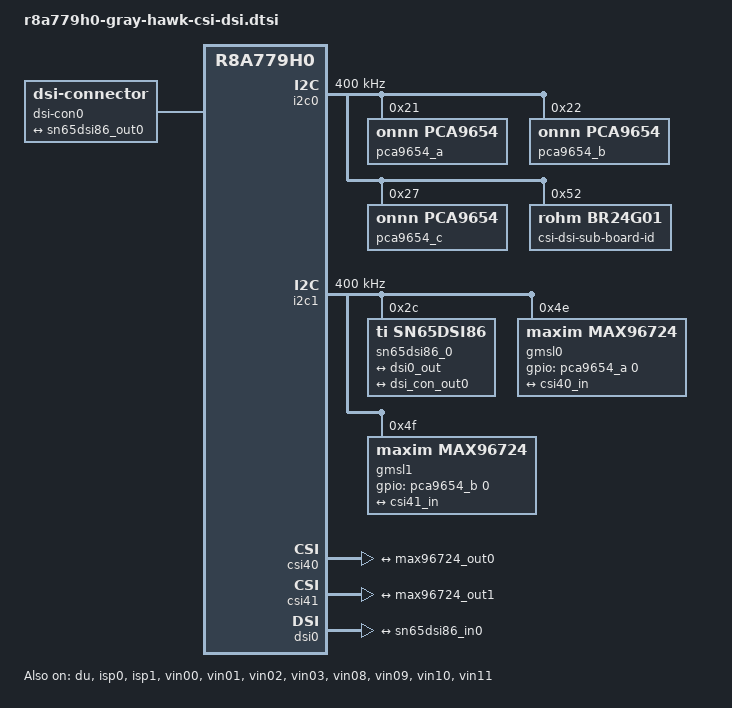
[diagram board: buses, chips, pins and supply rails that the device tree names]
// SPDX-License-Identifier: (GPL-2.0-only OR BSD-2-Clause)
/*
 * Device Tree Source for the R-Car V4M Gray Hawk CSI/DSI sub-board
 *
 * Copyright (C) 2023 Renesas Electronics Corp.
 */

#include <dt-bindings/media/video-interfaces.h>

/ {
	dsi-con0 {
		compatible = "dsi-connector";
		port {
			dsi_con_out0: endpoint {
				remote-endpoint = <&sn65dsi86_out0>;
			};
		};
	};
};

&i2c0 {
	pinctrl-0 = <&i2c0_pins>;
	pinctrl-names = "default";

	status = "okay";
	clock-frequency = <400000>;

	pca9654_a: gpio@21 {
		compatible = "onnn,pca9654";
		reg = <0x21>;
		gpio-controller;
		#gpio-cells = <2>;
	};

	pca9654_b: gpio@22 {
		compatible = "onnn,pca9654";
		reg = <0x22>;
		gpio-controller;
		#gpio-cells = <2>;
	};

	pca9654_c: gpio@27 {
		compatible = "onnn,pca9654";
		reg = <0x27>;
		gpio-controller;
		#gpio-cells = <2>;
	};

	eeprom@52 {
		compatible = "rohm,br24g01", "atmel,24c01";
		label = "csi-dsi-sub-board-id";
		reg = <0x52>;
		pagesize = <8>;
	};
};

&i2c1 {
	pinctrl-0 = <&i2c1_pins>;
	pinctrl-names = "default";

	status = "okay";
	clock-frequency = <400000>;

	sn65dsi86_0@2c {
		compatible = "ti,sn65dsi86";
		reg = <0x2c>;
		dp-connector;
		clocks = <&ref_clk>;
		clock-names = "refclk";
		no-use-gpio;
		no-use-scramble;
		hpd-poll;
		status = "okay";

		ports {
		#address-cells = <1>;
		#size-cells = <0>;

			port@0 {
				reg = <0>;
				sn65dsi86_in0: endpoint {
					remote-endpoint = <&dsi0_out>;
				};
			};

			port@1 {
				reg = <1>;
				sn65dsi86_out0: endpoint {
					remote-endpoint = <&dsi_con_out0>;
				};
			};
		};
	};

	gmsl0: gmsl-deserializer@4e {
		compatible = "maxim,max96724";
		reg = <0x4e>, <0x01>, <0x02>, <0x03>, <0x04>;
		gpios = <&pca9654_a 0 GPIO_ACTIVE_HIGH>;
		gpio-controller;
		#gpio-cells = <2>;

		ports {
			#address-cells = <1>;
			#size-cells = <0>;

			port@0 {
				reg = <0>;
				max96724_in0: endpoint {
				};
			};

			port@1 {
				reg = <1>;
				max96724_in1: endpoint {
				};
			};

			port@2 {
				reg = <2>;
				max96724_in2: endpoint {
				};
			};

			port@3 {
				reg = <3>;
				max96724_in3: endpoint {
				};
			};

			port@4 {
				reg = <4>;
				max96724_out0: endpoint {
					bus-type = <MEDIA_BUS_TYPE_CSI2_DPHY>;
					clock-lanes = <0>;
					data-lanes = <1 2 3 4>;
					remote-endpoint = <&csi40_in>;
				};
			};
		};

		i2c-mux {
			#address-cells = <1>;
			#size-cells = <0>;

			i2c@0 {
				#address-cells = <1>;
				#size-cells = <0>;
				reg = <0>;

				status = "disabled";
			};

			i2c@1 {
				#address-cells = <1>;
				#size-cells = <0>;
				reg = <1>;

				status = "disabled";
			};

			i2c@2 {
				#address-cells = <1>;
				#size-cells = <0>;
				reg = <2>;

				status = "disabled";
			};

			i2c@3 {
				#address-cells = <1>;
				#size-cells = <0>;
				reg = <3>;

				status = "disabled";
			};
		};
	};

	gmsl1: gmsl-deserializer@4f {
		compatible = "maxim,max96724";
		reg = <0x4f>, <0x05>, <0x06>, <0x07>, <0x08>;
		gpios = <&pca9654_b 0 GPIO_ACTIVE_HIGH>;
		maxim,invert_phy-pol;
		gpio-controller;
		#gpio-cells = <2>;

		ports {
			#address-cells = <1>;
			#size-cells = <0>;

			port@0 {
				reg = <0>;
				max96724_in4: endpoint {
				};
			};

			port@1 {
				reg = <1>;
				max96724_in5: endpoint {
				};
			};

			port@2 {
				reg = <2>;
				max96724_in6: endpoint {
				};
			};

			port@3 {
				reg = <3>;
				max96724_in7: endpoint {
				};
			};

			port@4 {
				reg = <4>;
				max96724_out1: endpoint {
					bus-type = <MEDIA_BUS_TYPE_CSI2_DPHY>;
					clock-lanes = <0>;
					data-lanes = <1 2 3 4>;
					remote-endpoint = <&csi41_in>;
				};
			};
		};

		i2c-mux {
			#address-cells = <1>;
			#size-cells = <0>;

			i2c@0 {
				#address-cells = <1>;
				#size-cells = <0>;
				reg = <0>;

				status = "disabled";
			};

			i2c@1 {
				#address-cells = <1>;
				#size-cells = <0>;
				reg = <1>;

				status = "disabled";
			};

			i2c@2 {
				#address-cells = <1>;
				#size-cells = <0>;
				reg = <2>;

				status = "disabled";
			};

			i2c@3 {
				#address-cells = <1>;
				#size-cells = <0>;
				reg = <3>;

				status = "disabled";
			};
		};
	};
};

&csi40 {
	status = "okay";

	ports {
		#address-cells = <1>;
		#size-cells = <0>;

		port@0 {
			reg = <0>;

			csi40_in: endpoint {
				bus-type = <MEDIA_BUS_TYPE_CSI2_DPHY>;
				clock-lanes = <0>;
				data-lanes = <1 2 3 4>;
				remote-endpoint = <&max96724_out0>;
			};
		};
	};
};

&csi41 {
	status = "okay";

	ports {
		#address-cells = <1>;
		#size-cells = <0>;

		port@0 {
			reg = <0>;

			csi41_in: endpoint {
				bus-type = <MEDIA_BUS_TYPE_CSI2_DPHY>;
				clock-lanes = <0>;
				data-lanes = <1 2 3 4>;
				remote-endpoint = <&max96724_out1>;
			};
		};
	};
};

&du {
	status = "okay";
};

&dsi0 {
	status = "okay";
	use-extal-clk;

	ports {
		port@1 {
			endpoint {
				remote-endpoint = <&sn65dsi86_in0>;
				data-lanes = <1 2 3 4>;
			};
		};
	};
};

&isp0 {
	status = "okay";
};

&isp1 {
	status = "okay";
};

&vin00 {
	status = "okay";
};

&vin01 {
	status = "okay";
};

&vin02 {
	status = "okay";
};

&vin03 {
	status = "okay";
};

&vin08 {
	status = "okay";
};

&vin09 {
	status = "okay";
};

&vin10 {
	status = "okay";
};

&vin11 {
	status = "okay";
};

&ref_clk {
	clock-frequency = <38400000>;
};

/* FAKRA Overlay */
#include "gray-hawk-fakra.dtsi"
